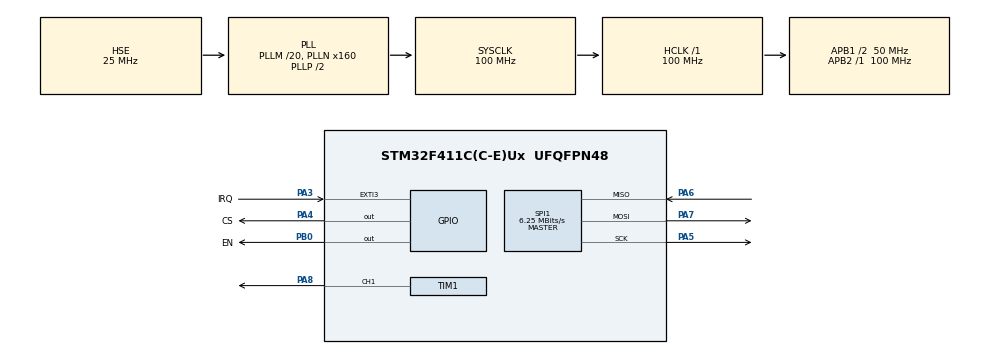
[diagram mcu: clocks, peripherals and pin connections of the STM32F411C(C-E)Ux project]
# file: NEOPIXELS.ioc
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Dma.Request0=TIM1_CH1
Dma.TIM1_CH1.0.Direction=DMA_MEMORY_TO_PERIPH
Dma.TIM1_CH1.0.FIFOMode=DMA_FIFOMODE_DISABLE
Dma.TIM1_CH1.0.Instance=DMA2_Stream1
Dma.TIM1_CH1.0.MemDataAlignment=DMA_MDATAALIGN_HALFWORD
Dma.TIM1_CH1.0.MemInc=DMA_MINC_ENABLE
Dma.TIM1_CH1.0.Mode=DMA_NORMAL
Dma.TIM1_CH1.0.PeriphDataAlignment=DMA_PDATAALIGN_HALFWORD
Dma.TIM1_CH1.0.PeriphInc=DMA_PINC_DISABLE
Dma.TIM1_CH1.0.Priority=DMA_PRIORITY_LOW
Mcu.Family=STM32F4
Mcu.Name=STM32F411C(C-E)Ux
Mcu.Package=UFQFPN48
NVIC.DMA2_Stream1_IRQn=true\:0\:0\:false\:false\:true\:false\:true\:true
NVIC.EXTI3_IRQn=true\:0\:0\:false\:false\:true\:true\:true\:true
NVIC.PriorityGroup=NVIC_PRIORITYGROUP_4
NVIC.RCC_IRQn=true\:0\:0\:false\:false\:true\:true\:false\:true
PA13.Mode=Serial_Wire
PA13.Signal=SYS_JTMS-SWDIO
PA14.Mode=Serial_Wire
PA14.Signal=SYS_JTCK-SWCLK
PA3.GPIO_Label=IRQ
PA3.GPIO_ModeDefaultEXTI=GPIO_MODE_IT_FALLING
PA3.Signal=GPXTI3
PA4.GPIO_Label=CS
PA4.GPIO_Speed=GPIO_SPEED_FREQ_VERY_HIGH
PA4.PinState=GPIO_PIN_SET
PA4.Signal=GPIO_Output
PA5.Mode=Full_Duplex_Master
PA5.Signal=SPI1_SCK
PA6.Mode=Full_Duplex_Master
PA6.Signal=SPI1_MISO
PA7.Mode=Full_Duplex_Master
PA7.Signal=SPI1_MOSI
PA8.GPIO_PuPd=GPIO_NOPULL
PA8.GPIO_Speed=GPIO_SPEED_FREQ_HIGH
PA8.Signal=S_TIM1_CH1
PB0.GPIO_Label=EN
PB0.GPIO_Speed=GPIO_SPEED_FREQ_HIGH
PB0.Signal=GPIO_Output
PC14-OSC32_IN.Mode=LSE-External-Oscillator
PC14-OSC32_IN.Signal=RCC_OSC32_IN
PC15-OSC32_OUT.Mode=LSE-External-Oscillator
PC15-OSC32_OUT.Signal=RCC_OSC32_OUT
PH0\ -\ OSC_IN.Mode=HSE-External-Oscillator
PH0\ -\ OSC_IN.Signal=RCC_OSC_IN
PH1\ -\ OSC_OUT.Mode=HSE-External-Oscillator
PH1\ -\ OSC_OUT.Signal=RCC_OSC_OUT
ProjectManager.HeapSize=0x200
ProjectManager.StackSize=0x400
ProjectManager.TargetToolchain=STM32CubeIDE
RCC.48MHZClocksFreq_Value=50000000
RCC.AHBFreq_Value=100000000
RCC.APB1CLKDivider=RCC_HCLK_DIV2
RCC.APB1Freq_Value=50000000
RCC.APB1TimFreq_Value=100000000
RCC.APB2Freq_Value=100000000
RCC.APB2TimFreq_Value=100000000
RCC.CortexFreq_Value=100000000
RCC.HCLKFreq_Value=100000000
RCC.HSE_VALUE=25000000
RCC.HSI_VALUE=16000000
RCC.PLLM=20
RCC.PLLN=160
RCC.PLLSourceVirtual=RCC_PLLSOURCE_HSE
RCC.SYSCLKFreq_VALUE=100000000
RCC.SYSCLKSource=RCC_SYSCLKSOURCE_PLLCLK
RCC.VCOOutputFreq_Value=200000000
SH.S_TIM1_CH1.0=TIM1_CH1,PWM Generation1 CH1
SPI1.BaudRatePrescaler=SPI_BAUDRATEPRESCALER_16
SPI1.CalculateBaudRate=6.25 MBits/s
SPI1.Direction=SPI_DIRECTION_2LINES
SPI1.Mode=SPI_MODE_MASTER
SPI1.VirtualType=VM_MASTER
TIM1.AutoReloadPreload=TIM_AUTORELOAD_PRELOAD_ENABLE
TIM1.Channel-PWM\ Generation1\ CH1=TIM_CHANNEL_1
TIM1.OCFastMode_PWM-PWM\ Generation1\ CH1=TIM_OCFAST_DISABLE
TIM1.Period=100-1
TIM1.Prescaler=0
VP_TIM1_VS_ClockSourceINT.Mode=Internal
board=custom

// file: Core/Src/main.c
/* USER CODE BEGIN Header */
/**
  ******************************************************************************
  * @file           : main.c
  * @brief          : Main program body
  ******************************************************************************
  * @attention
  *
  * Copyright (c) 2024 STMicroelectronics.
  * All rights reserved.
  *
  * This software is licensed under terms that can be found in the LICENSE file
  * in the root directory of this software component.
  * If no LICENSE file comes with this software, it is provided AS-IS.
  *
  ******************************************************************************
  */
/* USER CODE END Header */
#include "main.h"

/* USER CODE BEGIN Includes */

/*
 * Nativas
 */
#include <math.h>
#include <stdbool.h>

/*
 * Del usuario
 */
#include "WS2812B.h"
#include "NRF24L01.h"
/* USER CODE END Includes */

/* USER CODE BEGIN PTD */
TIRA_t regleta_leds;
/* USER CODE END PTD */

/* USER CODE BEGIN PD */
#define PI 3.1416
/* USER CODE END PD */

SPI_HandleTypeDef hspi1;

TIM_HandleTypeDef htim1;
DMA_HandleTypeDef hdma_tim1_ch1;

/* USER CODE BEGIN PV */
uint8_t rx_data[NRF24L01P_PAYLOAD_LENGTH] = {0,0,0};
/* USER CODE END PV */

void SystemClock_Config(void);
static void MX_GPIO_Init(void);
static void MX_DMA_Init(void);
static void MX_TIM1_Init(void);
static void MX_SPI1_Init(void);
/* USER CODE BEGIN PFP */

/*
 * Onoff
 */
void ONOFF(void);

/*
 * Efectos RGB
 */
void EFECTO1(void);
void EFECTO2(void);
void EFECTO3(void);
void EFECTO4(void);
void EFECTO5(void);

/*
 * Efectos de luz blanca
 */
void LUZ_BLANCA(uint8_t dim);
/* USER CODE END PFP */

int main(void)
{

  /* MCU Configuration--------------------------------------------------------*/

  /* Reset of all peripherals, Initializes the Flash interface and the Systick. */
  HAL_Init();

  /* Configure the system clock */
  SystemClock_Config();

  /* Initialize all configured peripherals */
  MX_GPIO_Init();
  MX_DMA_Init();
  MX_TIM1_Init();
  MX_SPI1_Init();
  /* USER CODE BEGIN 2 */

  /*
   * Configuramos el transciver
   * CANAL 2500Mhz
   * Baudrate en 1Mbps
   */
  nrf24l01p_rx_init(2500, _1Mbps);

  //inicializamos la bandera de la tira
  Init_tira(&regleta_leds);
  WS2812_Send(&regleta_leds);

  //Inicializamos el transciver de RF

  /* USER CODE END 2 */

  /* Infinite loop */
  while (1)
  {

    /* USER CODE BEGIN 3 */

	  /*
	   * Maquina de estados para
	   * efectos de RGB
	   */

	if(rx_data[0])
	{
		switch (rx_data[1])
		{//EFECTOS DE RGB
			case 0:
				EFECTO1();
				break;
			case 1:
				EFECTO2();
				break;
			case 2:
				EFECTO3();
				break;
			case 3:
				EFECTO4();
				break;
			case 4:
				EFECTO5();
				break;
			case 5:
				ONOFF();
				break;
			default:
				break;
		}
	}else
	{//EFECTOS DE LUZ BLANCA
		LUZ_BLANCA(rx_data[2]);
	}

  }
  /* USER CODE END 3 */
}

void SystemClock_Config(void)
{
  RCC_OscInitTypeDef RCC_OscInitStruct = {0};
  RCC_ClkInitTypeDef RCC_ClkInitStruct = {0};

  /** Configure the main internal regulator output voltage
  */
  __HAL_RCC_PWR_CLK_ENABLE();
  __HAL_PWR_VOLTAGESCALING_CONFIG(PWR_REGULATOR_VOLTAGE_SCALE1);

  /** Initializes the RCC Oscillators according to the specified parameters
  * in the RCC_OscInitTypeDef structure.
  */
  RCC_OscInitStruct.OscillatorType = RCC_OSCILLATORTYPE_HSE;
  RCC_OscInitStruct.HSEState = RCC_HSE_ON;
  RCC_OscInitStruct.PLL.PLLState = RCC_PLL_ON;
  RCC_OscInitStruct.PLL.PLLSource = RCC_PLLSOURCE_HSE;
  RCC_OscInitStruct.PLL.PLLM = 20;
  RCC_OscInitStruct.PLL.PLLN = 160;
  RCC_OscInitStruct.PLL.PLLP = RCC_PLLP_DIV2;
  RCC_OscInitStruct.PLL.PLLQ = 4;
  if (HAL_RCC_OscConfig(&RCC_OscInitStruct) != HAL_OK)
  {
    Error_Handler();
  }

  /** Initializes the CPU, AHB and APB buses clocks
  */
  RCC_ClkInitStruct.ClockType = RCC_CLOCKTYPE_HCLK|RCC_CLOCKTYPE_SYSCLK
                              |RCC_CLOCKTYPE_PCLK1|RCC_CLOCKTYPE_PCLK2;
  RCC_ClkInitStruct.SYSCLKSource = RCC_SYSCLKSOURCE_PLLCLK;
  RCC_ClkInitStruct.AHBCLKDivider = RCC_SYSCLK_DIV1;
  RCC_ClkInitStruct.APB1CLKDivider = RCC_HCLK_DIV2;
  RCC_ClkInitStruct.APB2CLKDivider = RCC_HCLK_DIV1;

  if (HAL_RCC_ClockConfig(&RCC_ClkInitStruct, FLASH_LATENCY_3) != HAL_OK)
  {
    Error_Handler();
  }
}

static void MX_SPI1_Init(void)
{

  /* SPI1 parameter configuration*/
  hspi1.Instance = SPI1;
  hspi1.Init.Mode = SPI_MODE_MASTER;
  hspi1.Init.Direction = SPI_DIRECTION_2LINES;
  hspi1.Init.DataSize = SPI_DATASIZE_8BIT;
  hspi1.Init.CLKPolarity = SPI_POLARITY_LOW;
  hspi1.Init.CLKPhase = SPI_PHASE_1EDGE;
  hspi1.Init.NSS = SPI_NSS_SOFT;
  hspi1.Init.BaudRatePrescaler = SPI_BAUDRATEPRESCALER_16;
  hspi1.Init.FirstBit = SPI_FIRSTBIT_MSB;
  hspi1.Init.TIMode = SPI_TIMODE_DISABLE;
  hspi1.Init.CRCCalculation = SPI_CRCCALCULATION_DISABLE;
  hspi1.Init.CRCPolynomial = 10;
  if (HAL_SPI_Init(&hspi1) != HAL_OK)
  {
    Error_Handler();
  }

}

static void MX_TIM1_Init(void)
{

  TIM_ClockConfigTypeDef sClockSourceConfig = {0};
  TIM_MasterConfigTypeDef sMasterConfig = {0};
  TIM_OC_InitTypeDef sConfigOC = {0};
  TIM_BreakDeadTimeConfigTypeDef sBreakDeadTimeConfig = {0};

  htim1.Instance = TIM1;
  htim1.Init.Prescaler = 0;
  htim1.Init.CounterMode = TIM_COUNTERMODE_UP;
  htim1.Init.Period = 100-1;
  htim1.Init.ClockDivision = TIM_CLOCKDIVISION_DIV1;
  htim1.Init.RepetitionCounter = 0;
  htim1.Init.AutoReloadPreload = TIM_AUTORELOAD_PRELOAD_ENABLE;
  if (HAL_TIM_Base_Init(&htim1) != HAL_OK)
  {
    Error_Handler();
  }
  sClockSourceConfig.ClockSource = TIM_CLOCKSOURCE_INTERNAL;
  if (HAL_TIM_ConfigClockSource(&htim1, &sClockSourceConfig) != HAL_OK)
  {
    Error_Handler();
  }
  if (HAL_TIM_PWM_Init(&htim1) != HAL_OK)
  {
    Error_Handler();
  }
  sMasterConfig.MasterOutputTrigger = TIM_TRGO_RESET;
  sMasterConfig.MasterSlaveMode = TIM_MASTERSLAVEMODE_DISABLE;
  if (HAL_TIMEx_MasterConfigSynchronization(&htim1, &sMasterConfig) != HAL_OK)
  {
    Error_Handler();
  }
  sConfigOC.OCMode = TIM_OCMODE_PWM1;
  sConfigOC.Pulse = 0;
  sConfigOC.OCPolarity = TIM_OCPOLARITY_HIGH;
  sConfigOC.OCNPolarity = TIM_OCNPOLARITY_HIGH;
  sConfigOC.OCFastMode = TIM_OCFAST_DISABLE;
  sConfigOC.OCIdleState = TIM_OCIDLESTATE_RESET;
  sConfigOC.OCNIdleState = TIM_OCNIDLESTATE_RESET;
  if (HAL_TIM_PWM_ConfigChannel(&htim1, &sConfigOC, TIM_CHANNEL_1) != HAL_OK)
  {
    Error_Handler();
  }
  sBreakDeadTimeConfig.OffStateRunMode = TIM_OSSR_DISABLE;
  sBreakDeadTimeConfig.OffStateIDLEMode = TIM_OSSI_DISABLE;
  sBreakDeadTimeConfig.LockLevel = TIM_LOCKLEVEL_OFF;
  sBreakDeadTimeConfig.DeadTime = 0;
  sBreakDeadTimeConfig.BreakState = TIM_BREAK_DISABLE;
  sBreakDeadTimeConfig.BreakPolarity = TIM_BREAKPOLARITY_HIGH;
  sBreakDeadTimeConfig.AutomaticOutput = TIM_AUTOMATICOUTPUT_DISABLE;
  if (HAL_TIMEx_ConfigBreakDeadTime(&htim1, &sBreakDeadTimeConfig) != HAL_OK)
  {
    Error_Handler();
  }
  HAL_TIM_MspPostInit(&htim1);

}

static void MX_DMA_Init(void)
{

  /* DMA controller clock enable */
  __HAL_RCC_DMA2_CLK_ENABLE();

  /* DMA interrupt init */
  /* DMA2_Stream1_IRQn interrupt configuration */
  HAL_NVIC_SetPriority(DMA2_Stream1_IRQn, 0, 0);
  HAL_NVIC_EnableIRQ(DMA2_Stream1_IRQn);

}

static void MX_GPIO_Init(void)
{
  GPIO_InitTypeDef GPIO_InitStruct = {0};

  /* GPIO Ports Clock Enable */
  __HAL_RCC_GPIOC_CLK_ENABLE();
  __HAL_RCC_GPIOH_CLK_ENABLE();
  __HAL_RCC_GPIOA_CLK_ENABLE();
  __HAL_RCC_GPIOB_CLK_ENABLE();

  /*Configure GPIO pin Output Level */
  HAL_GPIO_WritePin(CS_GPIO_Port, CS_Pin, GPIO_PIN_SET);

  /*Configure GPIO pin Output Level */
  HAL_GPIO_WritePin(EN_GPIO_Port, EN_Pin, GPIO_PIN_RESET);

  /*Configure GPIO pin : IRQ_Pin */
  GPIO_InitStruct.Pin = IRQ_Pin;
  GPIO_InitStruct.Mode = GPIO_MODE_IT_FALLING;
  GPIO_InitStruct.Pull = GPIO_NOPULL;
  HAL_GPIO_Init(IRQ_GPIO_Port, &GPIO_InitStruct);

  /*Configure GPIO pin : CS_Pin */
  GPIO_InitStruct.Pin = CS_Pin;
  GPIO_InitStruct.Mode = GPIO_MODE_OUTPUT_PP;
  GPIO_InitStruct.Pull = GPIO_NOPULL;
  GPIO_InitStruct.Speed = GPIO_SPEED_FREQ_VERY_HIGH;
  HAL_GPIO_Init(CS_GPIO_Port, &GPIO_InitStruct);

  /*Configure GPIO pin : EN_Pin */
  GPIO_InitStruct.Pin = EN_Pin;
  GPIO_InitStruct.Mode = GPIO_MODE_OUTPUT_PP;
  GPIO_InitStruct.Pull = GPIO_NOPULL;
  GPIO_InitStruct.Speed = GPIO_SPEED_FREQ_HIGH;
  HAL_GPIO_Init(EN_GPIO_Port, &GPIO_InitStruct);

  /* EXTI interrupt init*/
  HAL_NVIC_SetPriority(EXTI3_IRQn, 0, 0);
  HAL_NVIC_EnableIRQ(EXTI3_IRQn);

}

/* USER CODE BEGIN 4 */
void HAL_TIM_PWM_PulseFinishedCallback(TIM_HandleTypeDef *htim)
{
	HAL_TIM_PWM_Stop_DMA(&htim1, TIM_CHANNEL_1);
	regleta_leds.datasentflag = 1;
}

void HAL_GPIO_EXTI_Callback(uint16_t GPIO_Pin)
{
	if(GPIO_Pin == NRF24L01P_IRQ_PIN_NUMBER)
		nrf24l01p_rx_receive(rx_data); // read data when data ready flag is set
}
/*
 * ONOFF
 */
void ONOFF(void)
{
	//Actualizamos los valores
	for (int num=0;num<MAX_LED;num++) {
		Set_LED(&regleta_leds,num,0,0,0);
	}

	//Mandamos los valores
	WS2812_Send(&regleta_leds);

	HAL_Delay(25);
}

/*
 * EFECTOS RGB
 */
uint8_t colores[3] = {0};
float N = 0; //timepo en iteracion
void EFECTO1(void)
{
	//Calculamos los colores para dar efecto
	colores[0] = (uint8_t)(254.0*((sin(N           )+1.0)/2.0));
	colores[1] = (uint8_t)(254.0*((sin(N + (2.0*PI)/3)+1.0)/2.0));
	colores[2] = (uint8_t)(254.0*((sin(N - (2.0*PI)/3)+1.0)/2.0));

	//Actualizamos los valores
	for (int num=0;num<MAX_LED;num++) {
		Set_LED(&regleta_leds,num,colores[0],colores[1],colores[2]);
	}

	//Mandamos los valores
	WS2812_Send(&regleta_leds);

	if( N <= (2.0*PI)) //Mayor a 360grados
	{
		N += PI/100; // +0.9GRADOS
	}
	else
	{
		N = 0;
	}

	HAL_Delay(15);
}
void EFECTO2(void)
{
	//Calculamos los colores para dar efecto
	switch ((uint8_t)N) {
		case 0:
			colores[0] = (uint8_t)(255);
			colores[1] = (uint8_t)(0);
			colores[2] = (uint8_t)(0);
			break;
		case 1:
			colores[0] = (uint8_t)(0);
			colores[1] = (uint8_t)(255);
			colores[2] = (uint8_t)(0);
			break;
		case 2:
			colores[0] = (uint8_t)(0);
			colores[1] = (uint8_t)(0);
			colores[2] = (uint8_t)(255);
			break;
		default:
			break;
	}

	//Actualizamos los valores
	for (int num=0;num<MAX_LED;num++) {
		Set_LED(&regleta_leds,num,colores[0],colores[1],colores[2]);
	}

	//Mandamos los valores
	WS2812_Send(&regleta_leds);

	if( N < 2)
	{
		N += 1;
	}
	else
	{
		N = 0;
	}

	HAL_Delay(750);
}
void EFECTO3(void)
{
	//Calculamos los colores para dar efecto
	switch ((uint8_t)N) {
		case 0:
			colores[0] = (uint8_t)(255);
			colores[1] = (uint8_t)(255);
			colores[2] = (uint8_t)(0);
			break;
		case 1:
			colores[0] = (uint8_t)(255);
			colores[1] = (uint8_t)(0);
			colores[2] = (uint8_t)(255);
			break;
		case 2:
			colores[0] = (uint8_t)(0);
			colores[1] = (uint8_t)(255);
			colores[2] = (uint8_t)(255);
			break;
		default:
			break;
	}

	//Actualizamos los valores
	for (int num=0;num<MAX_LED;num++) {
		Set_LED(&regleta_leds,num,colores[0],colores[1],colores[2]);
	}

	//Mandamos los valores
	WS2812_Send(&regleta_leds);

	if( N < 2)
	{
		N++;
	}
	else
	{
		N = 0;
	}

	HAL_Delay(750);
}
void EFECTO4(void)
{
	//Calculamos los colores para dar efecto
	colores[0] = (uint8_t)(254.0*((sin(N           )+1.0)/2.0));
	colores[1] = (uint8_t)(254.0*((sin(N + (2.0*PI)/3)+1.0)/4.0));
	colores[2] = (uint8_t)(254.0*((sin(N - (2.0*PI)/3)+1.0)/16.0));

	//Actualizamos los valores
	for (int num=0;num<MAX_LED;num++) {
		Set_LED(&regleta_leds,num,colores[0],colores[1],colores[2]);
	}

	//Mandamos los valores
	WS2812_Send(&regleta_leds);

	if( N <= (2.0*PI)) //Mayor a 360grados
	{
		N += PI/100; // +0.9GRADOS
	}
	else
	{
		N = 0;
	}

	HAL_Delay(15);
}
void EFECTO5(void)
{
	//Calculamos los colores para dar efecto
	colores[0] = (uint8_t)(254.0*((sin(N + PI/2)+1.0)/2.0));
	colores[1] = (uint8_t)(254.0*((sin(N)       +1.0)/2.0));
	colores[2] = (uint8_t)(254.0*((sin(N - PI/2)+1.0)/2.0));

	//Actualizamos los valores
	for (int num=0;num<MAX_LED;num++) {
		Set_LED(&regleta_leds,num,colores[0],colores[1],colores[2]);
	}

	//Mandamos los valores
	WS2812_Send(&regleta_leds);

	if( N <= (2.0*PI)) //Mayor a 360grados
	{
		N += PI/100; // +0.9GRADOS
	}
	else
	{
		N = 0;
	}

	HAL_Delay(15);
}

/*
 * EFECTO DE LUZ BLANCA
 */
void LUZ_BLANCA(uint8_t dim)
{
	/*
	 * En que punto estamos?
	 * Cuantos nos vamos a mover
	 *
	 * hot                 cold
	 * 254 <-------------> 0
	 *
	 */
	//Calculamos los colores para dar efecto
	colores[0] = dim;//R
	colores[2] = 254-dim; //G

	//Actualizamos los valores
	for (int num=0;num<MAX_LED;num++)
	{
		Set_LED(&regleta_leds,num,colores[0],110,colores[2]);
	}

	//Mandamos los valores
	WS2812_Send(&regleta_leds);

}

/* USER CODE END 4 */

void Error_Handler(void)
{
  __disable_irq();
  while (1)
  {
  }
}
